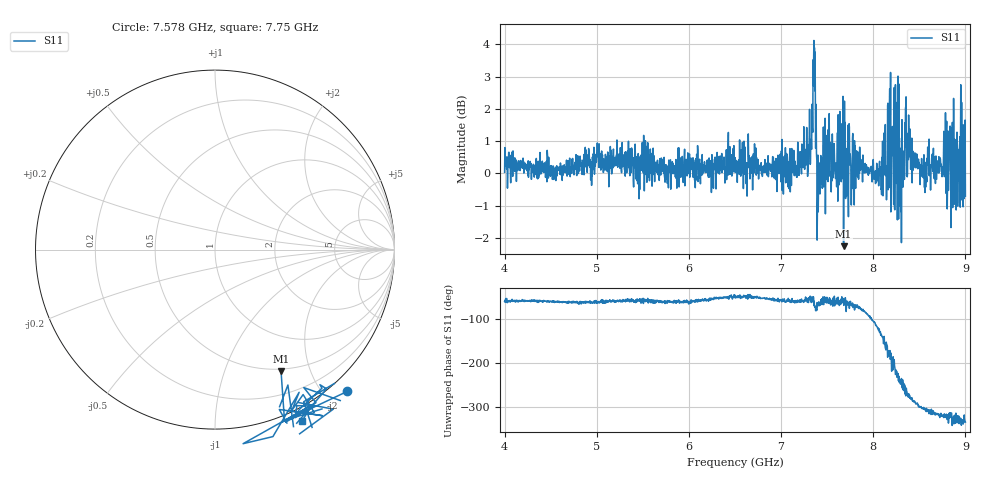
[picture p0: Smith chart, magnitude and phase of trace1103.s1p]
! Created with skrf 1.8.0 (http://scikit-rf.org).
# Hz S RI R 50.0
!freq ReS11 ImS11
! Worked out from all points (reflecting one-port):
!   1601 points, 4 GHz to 9 GHz, reference 50 ohm
!   lowest |S11| = -2.3 dB at 7.678 GHz (marker M1), VSWR 7.74, Z = 23.6 - j78.9 ohm
!   phase of S11 starts at -59 deg and turns -276 deg over the sweep
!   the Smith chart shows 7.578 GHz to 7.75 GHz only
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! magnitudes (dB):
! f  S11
! 4 GHz  0.0
! 4.625 GHz  -0.2
! 5.25 GHz  0.2
! 5.875 GHz  0.2
! 6.5 GHz  0.5
! 7.125 GHz  0.4
! 7.306 GHz  1.2
! 7.356 GHz  4.1
! 7.372 GHz  2.2
! 7.397 GHz  -0.7
! 7.412 GHz  -0.3
! 7.509 GHz  -0.3
! 7.591 GHz  -0.2
! 7.647 GHz  1.1
! 7.678 GHz  -2.3
! 7.75 GHz  0.6
! 8.066 GHz  0.3
! 8.194 GHz  -1.1
! 8.209 GHz  1.5
! 8.262 GHz  -1.4
! 8.312 GHz  1.7
! 8.334 GHz  0.7
! 8.375 GHz  1.2
! 8.556 GHz  -0.4
! 8.616 GHz  0.3
! 8.919 GHz  -0.2
! 8.956 GHz  -0.3
! 9 GHz  -0.7
